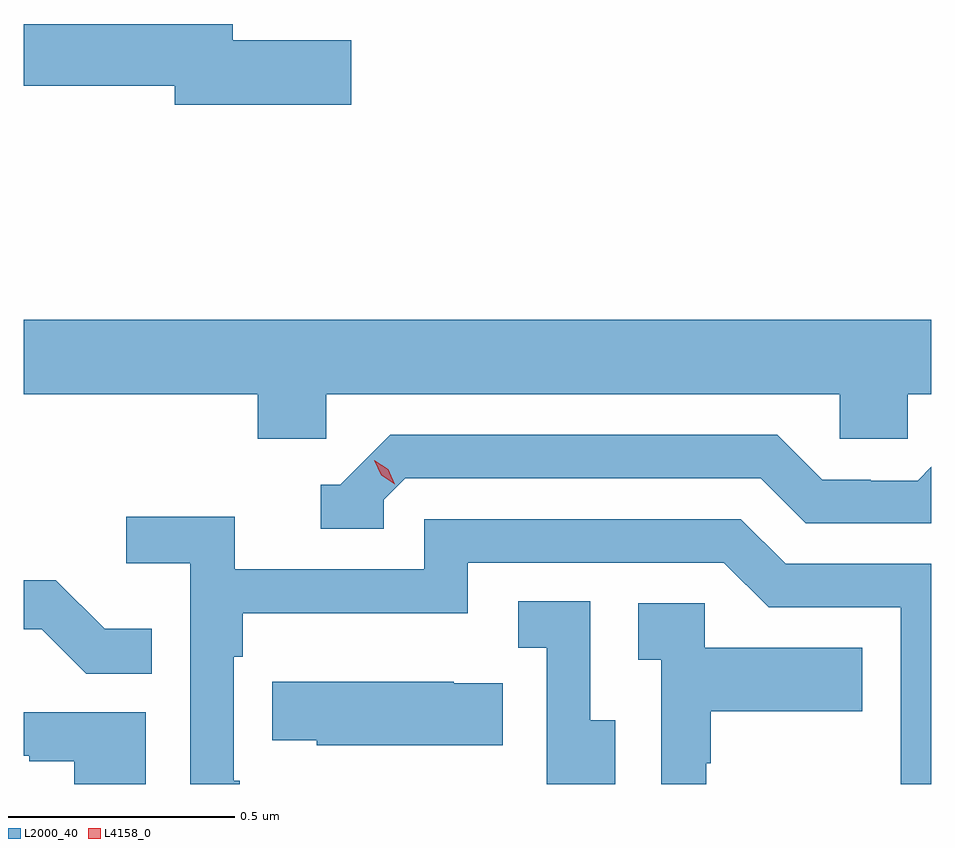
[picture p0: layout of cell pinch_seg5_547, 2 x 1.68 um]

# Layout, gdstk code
import gdstk
lib = gdstk.Library(unit=1e-6, precision=1e-09)
def P(c, l, *ps):  # polygons
    for p in ps: c.add(gdstk.Polygon(p, *l))
L2000_40 = (2000, 40)
L4158_0 = (4158, 0)

pinch_seg5_547 = lib.new_cell('pinch_seg5_547')
P(pinch_seg5_547, L2000_40, [(1001.119,850.88),(1000.858,850.88),(1000.858,850.916),(1000.397,850.916),(1000.397,850.78),(1000.73,850.78),(1000.73,850.738),(1001.119,850.738)],
  [(1001.064,850.1),(1002.195,850.1),(1002.195,850.002),(1002.345,850.002),(1002.345,850.1),(1002.397,850.1),(1002.397,850.264),(1000.397,850.264),(1000.397,850.1),(1000.913,850.1),(1000.913,850.002),(1001.064,850.002)],
  [(1001.19,849.867),(1001.238,849.915),(1002.021,849.915),(1002.12,849.816),(1002.397,849.816),(1002.397,849.94),(1002.367,849.909),(1002.264,849.909),(1002.264,849.912),(1002.157,849.912),(1002.058,850.011),(1001.205,850.011),(1001.094,849.9),(1001.051,849.9),(1001.051,849.804),(1001.19,849.804)],
  [(1000.873,849.248),(1000.86,849.248),(1000.86,849.521),(1000.88,849.521),(1000.88,849.617),(1001.376,849.617),(1001.376,849.729),(1001.94,849.729),(1002.039,849.63),(1002.33,849.63),(1002.33,849.241),(1002.397,849.241),(1002.397,849.726),(1002.076,849.726),(1001.977,849.825),(1001.28,849.825),(1001.28,849.714),(1000.862,849.714),(1000.862,849.83),(1000.623,849.83),(1000.623,849.728),(1000.764,849.728),(1000.764,849.241),(1000.873,849.241)],
  [(1000.679,849.583),(1000.575,849.583),(1000.468,849.69),(1000.397,849.69),(1000.397,849.582),(1000.437,849.582),(1000.535,849.484),(1000.679,849.484)],
  [(1001.701,849.381),(1001.646,849.381),(1001.646,849.644),(1001.487,849.644),(1001.487,849.541),(1001.55,849.541),(1001.55,849.241),(1001.701,849.241)],
  [(1001.901,849.287),(1001.911,849.287),(1001.911,849.401),(1002.245,849.401),(1002.245,849.541),(1001.898,849.541),(1001.898,849.639),(1001.751,849.639),(1001.751,849.515),(1001.802,849.515),(1001.802,849.241),(1001.901,849.241)],
  [(1001.453,849.463),(1001.345,849.463),(1001.345,849.466),(1000.945,849.466),(1000.945,849.337),(1001.043,849.337),(1001.043,849.326),(1001.453,849.326)],
  [(1000.666,849.399),(1000.397,849.399),(1000.397,849.303),(1000.409,849.303),(1000.409,849.291),(1000.508,849.291),(1000.508,849.241),(1000.666,849.241)])
P(pinch_seg5_547, L4158_0, [(1001.215,849.902),(1001.185,849.922),(1001.169,849.955),(1001.169,849.955),(1001.169,849.955),(1001.2,849.935),(1001.215,849.902),(1001.215,849.902)])

lib.write_gds('pinch_seg5_547.gds')
